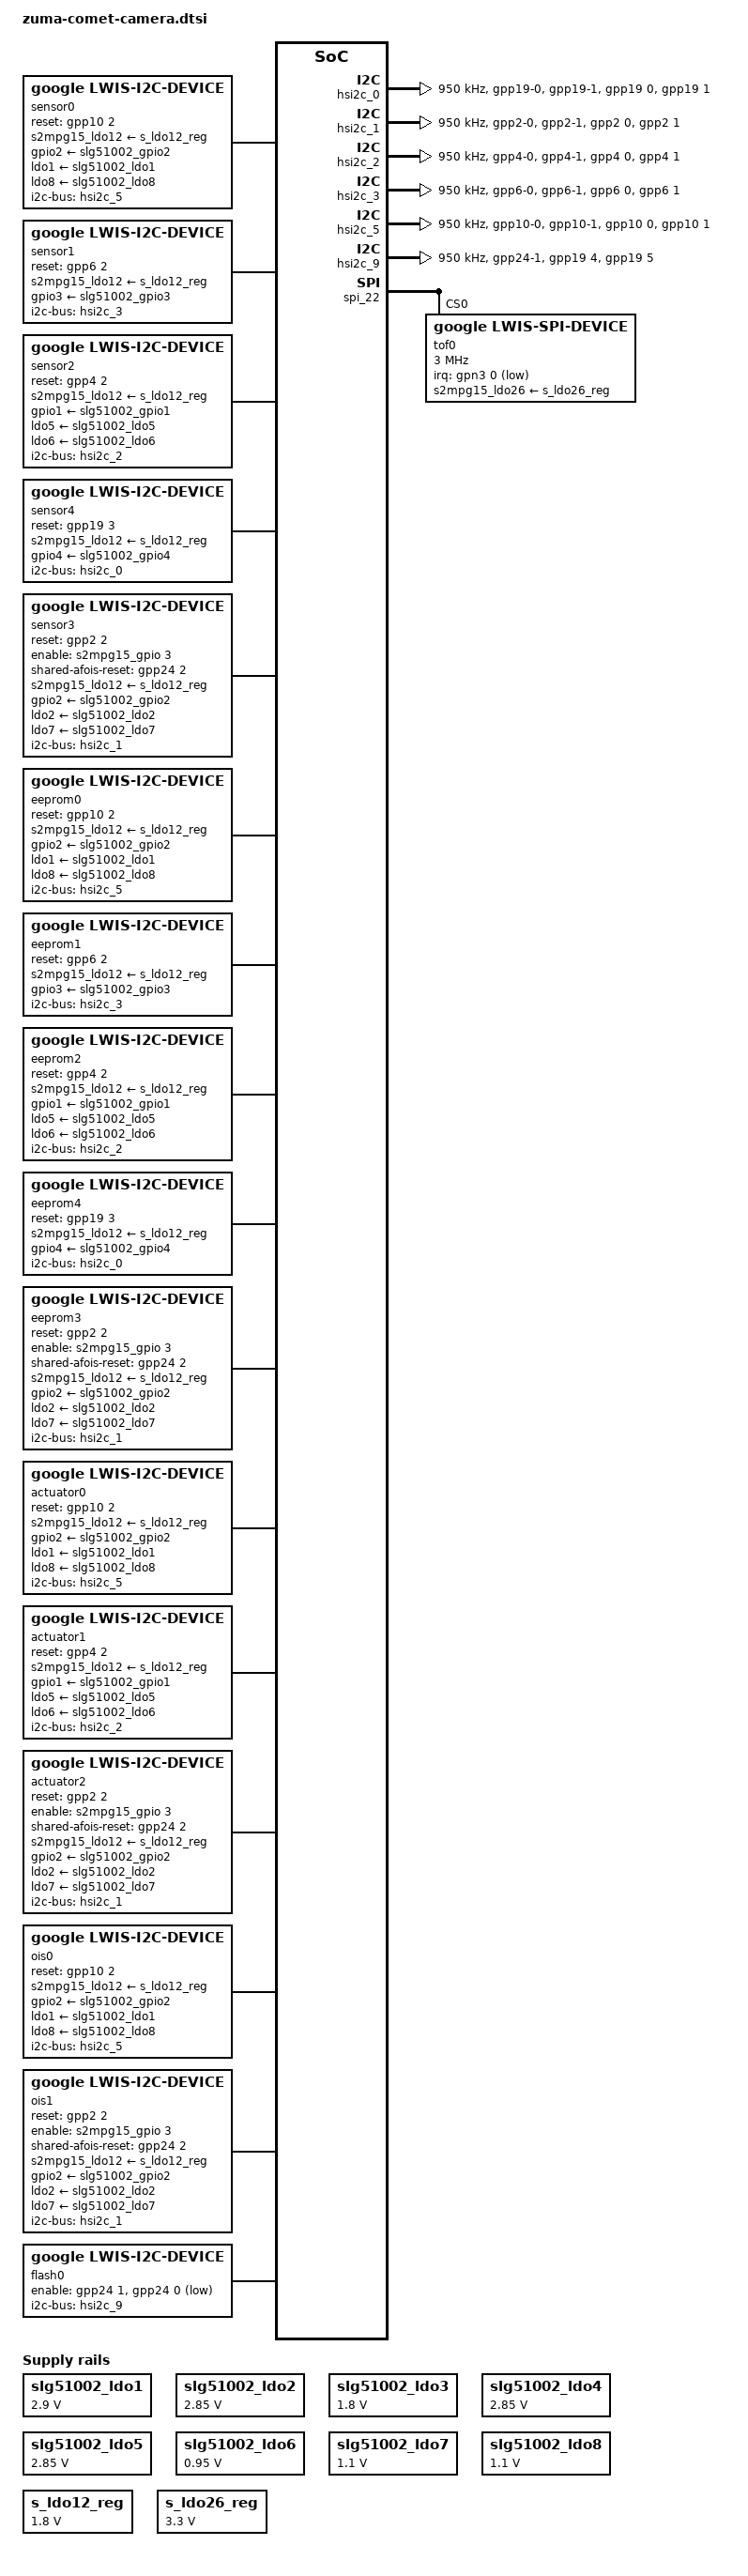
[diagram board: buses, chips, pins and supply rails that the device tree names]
// SPDX-License-Identifier: GPL-2.0-only
/*
 * zuma camera lwis device tree for comet
 *
 * Copyright 2023 Google LLC.
 *
 */

#include <dt-bindings/clock/zuma.h>
#include <dt-bindings/gpio/gpio.h>
#include <dt-bindings/lwis/platform/zuma/tof.h>
#include <arm64/exynos/exynos-pinctrl.h>

&slg51002_ldo1 {
	regulator-min-microvolt = <2900000>;
	regulator-max-microvolt = <2900000>;
};

&slg51002_ldo2 {
	regulator-min-microvolt = <2850000>;
	regulator-max-microvolt = <2850000>;
};

&slg51002_ldo3 {
	regulator-min-microvolt = <1800000>;
	regulator-max-microvolt = <1800000>;
};

&slg51002_ldo4 {
	regulator-min-microvolt = <2850000>;
	regulator-max-microvolt = <2850000>;
};

&slg51002_ldo5 {
	regulator-min-microvolt = <2850000>;
	regulator-max-microvolt = <2850000>;
};

&slg51002_ldo6 {
	regulator-min-microvolt = <950000>;
	regulator-max-microvolt = <950000>;
};

&slg51002_ldo7 {
	regulator-min-microvolt = <1100000>;
	regulator-max-microvolt = <1100000>;
};

&slg51002_ldo8 {
	regulator-min-microvolt = <1100000>;
	regulator-max-microvolt = <1100000>;
};

&s_ldo12_reg {
	regulator-min-microvolt = <1800000>;
	regulator-max-microvolt = <1800000>;
};

&s_ldo26_reg {
	regulator-min-microvolt = <3300000>;
	regulator-max-microvolt = <3300000>;
};

&pinctrl_11 {
	hsi2c1_bus: hsi2c1-bus {
		samsung,pin-pud = <EXYNOS_PIN_PULL_UP>;
	};

	hsi2c1_bus_in: hsi2c1-bus-in {
		samsung,pins = "gpp2-0", "gpp2-1";
		samsung,pin-function = <EXYNOS_PIN_FUNC_INPUT>;
		samsung,pin-pud = <EXYNOS_PIN_PULL_NONE>;
		samsung,pin-drv = <ZUMA_PIN_DRV_X1>;
	};

	hsi2c2_bus: hsi2c2-bus {
		samsung,pin-pud = <EXYNOS_PIN_PULL_UP>;
	};

	hsi2c2_bus_in: hsi2c2-bus-in {
		samsung,pins = "gpp4-0", "gpp4-1";
		samsung,pin-function = <EXYNOS_PIN_FUNC_INPUT>;
		samsung,pin-pud = <EXYNOS_PIN_PULL_NONE>;
		samsung,pin-drv = <ZUMA_PIN_DRV_X1>;
	};

	hsi2c3_bus: hsi2c3-bus {
		samsung,pin-pud = <EXYNOS_PIN_PULL_UP>;
	};

	hsi2c3_bus_in: hsi2c3-bus-in {
		samsung,pins = "gpp6-0", "gpp6-1";
		samsung,pin-function = <EXYNOS_PIN_FUNC_INPUT>;
		samsung,pin-pud = <EXYNOS_PIN_PULL_NONE>;
		samsung,pin-drv = <ZUMA_PIN_DRV_X1>;
	};

	hsi2c5_bus: hsi2c5-bus {
		samsung,pin-pud = <EXYNOS_PIN_PULL_UP>;
	};

	hsi2c5_bus_in: hsi2c5-bus-in {
		samsung,pins = "gpp10-0", "gpp10-1";
		samsung,pin-function = <EXYNOS_PIN_FUNC_INPUT>;
		samsung,pin-pud = <EXYNOS_PIN_PULL_NONE>;
		samsung,pin-drv = <ZUMA_PIN_DRV_X1>;
	};

	sensor_mclk1_out: sensor-mclk1-out {
		samsung,pin-drv = <ZUMA_PIN_DRV_X3>;
	};
	sensor_mclk1_fn: sensor-mclk1-fn {
		samsung,pin-drv = <ZUMA_PIN_DRV_X3>;
	};
	sensor_mclk2_out: sensor-mclk2-out {
		samsung,pin-drv = <ZUMA_PIN_DRV_X3>;
	};
	sensor_mclk2_fn: sensor-mclk2-fn {
		samsung,pin-drv = <ZUMA_PIN_DRV_X3>;
	};
	sensor_mclk4_out: sensor-mclk4-out {
		samsung,pin-drv = <ZUMA_PIN_DRV_X2>;
	};
	sensor_mclk4_fn: sensor-mclk4-fn {
		samsung,pin-drv = <ZUMA_PIN_DRV_X2>;
	};
	sensor_mclk8_fn: sensor-mclk8-fn {
		samsung,pin-drv = <ZUMA_PIN_DRV_X2>;
	};
	sensor_mclk8_out: sensor-mclk8-out {
		samsung,pin-drv = <ZUMA_PIN_DRV_X2>;
	};
};

&pinctrl_12 {
	hsi2c0_bus: hsi2c0-bus {
		samsung,pin-pud = <EXYNOS_PIN_PULL_UP>;
	};

	hsi2c0_bus_in: hsi2c0-bus-in {
		samsung,pins = "gpp19-0", "gpp19-1";
		samsung,pin-function = <EXYNOS_PIN_FUNC_INPUT>;
		samsung,pin-pud = <EXYNOS_PIN_PULL_NONE>;
		samsung,pin-drv = <ZUMA_PIN_DRV_X1>;
	};

	/* GPP24[1] Flashlight Enable */
	flash_en: flash-en {
		samsung,pins = "gpp24-1";
		samsung,pin-function = <EXYNOS_PIN_FUNC_INPUT>;
		samsung,pin-pud = <EXYNOS_PIN_PULL_NONE>;
		samsung,pin-con-pdn = <EXYNOS_PIN_PDN_PREV>;
		samsung,pin-pud-pdn = <EXYNOS_PIN_PULL_NONE>;
	};
};

&hsi2c_0 {
	#address-cells = <1>;
	#size-cells = <0>;
	gpios = <&gpp19 0 GPIO_ACTIVE_HIGH &gpp19 1 GPIO_ACTIVE_HIGH>;
	status = "okay";
	clock-frequency = <950000>;
	samsung,no_lose_arbitration;
	samsung,reset-before-trans;

	pinctrl-names = "default","on_i2c","off_i2c";
	pinctrl-0 = <&hsi2c0_bus_in>;
	pinctrl-1 = <&hsi2c0_bus>;
	pinctrl-2 = <&hsi2c0_bus_in>;
};

&hsi2c_1 {
	#address-cells = <1>;
	#size-cells = <0>;
	gpios = <&gpp2 0 GPIO_ACTIVE_HIGH &gpp2 1 GPIO_ACTIVE_HIGH>;
	status = "okay";
	clock-frequency = <950000>;
	samsung,no_lose_arbitration;
	samsung,reset-before-trans;

	pinctrl-names = "default","on_i2c","off_i2c";
	pinctrl-0 = <&hsi2c1_bus_in>;
	pinctrl-1 = <&hsi2c1_bus>;
	pinctrl-2 = <&hsi2c1_bus_in>;
};

&hsi2c_2 {
	#address-cells = <1>;
	#size-cells = <0>;
	gpios = <&gpp4 0 GPIO_ACTIVE_HIGH &gpp4 1 GPIO_ACTIVE_HIGH>;
	status = "okay";
	clock-frequency = <950000>;
	samsung,no_lose_arbitration;
	samsung,reset-before-trans;

	pinctrl-names = "default","on_i2c","off_i2c";
	pinctrl-0 = <&hsi2c2_bus_in>;
	pinctrl-1 = <&hsi2c2_bus>;
	pinctrl-2 = <&hsi2c2_bus_in>;
};

&hsi2c_3 {
	#address-cells = <1>;
	#size-cells = <0>;
	gpios = <&gpp6 0 GPIO_ACTIVE_HIGH &gpp6 1 GPIO_ACTIVE_HIGH>;
	status = "okay";
	clock-frequency = <950000>;
	samsung,no_lose_arbitration;
	samsung,reset-before-trans;

	pinctrl-names = "default","on_i2c","off_i2c";
	pinctrl-0 = <&hsi2c3_bus_in>;
	pinctrl-1 = <&hsi2c3_bus>;
	pinctrl-2 = <&hsi2c3_bus_in>;
};

&hsi2c_5 {
	#address-cells = <1>;
	#size-cells = <0>;
	gpios = <&gpp10 0 GPIO_ACTIVE_HIGH &gpp10 1 GPIO_ACTIVE_HIGH>;
	status = "okay";
	clock-frequency = <950000>;
	samsung,no_lose_arbitration;
	samsung,reset-before-trans;

	pinctrl-names = "default","on_i2c","off_i2c";
	pinctrl-0 = <&hsi2c5_bus_in>;
	pinctrl-1 = <&hsi2c5_bus>;
	pinctrl-2 = <&hsi2c5_bus_in>;
};

&hsi2c_9 {
	#address-cells = <1>;
	#size-cells = <0>;
	gpios = <&gpp19 4 GPIO_ACTIVE_HIGH &gpp19 5 GPIO_ACTIVE_HIGH>;
	status = "okay";
	clock-frequency = <950000>;
	samsung,no_lose_arbitration;

	pinctrl-names = "default","on_i2c","off_i2c","recovery";
	pinctrl-0 = <&hsi2c9_bus &flash_en>;
	pinctrl-1 = <&hsi2c9_bus>;
	pinctrl-2 = <&hsi2c9_bus>;
	pinctrl-3 = <>;
};

&spi_22 {

	#address-cells = <1>;
	#size-cells = <0>;
	status = "okay";

	tof0: tof@0 {
		status = "ok";
		compatible = "google,lwis-spi-device";

		/* Device node name */
		node-name = "tof-tarasque";

		/* Registers */
		reg-addr-bitwidth = <16>;
		reg-value-bitwidth = <8>;

		/* SPI config */
		reg = <0>;
		spi-max-frequency = <3000000>;
		spi-cpol;
		spi-cpha;

		/* Power supplies */
		/* VADD 3.3V */
		s2mpg15_ldo26-supply = <&s_ldo26_reg>;

		/* MCLK Control*/
		pinctrl-names = "mclk_on", "mclk_off";
		pinctrl-0 = <>;
		pinctrl-1 = <>;

		/* XAOC_GPIO3: GPN3[0] */
		irq-gpios = <&gpn3 0 GPIO_ACTIVE_LOW>;
		irq-gpios-names = "tof-irq";
		irq-gpios-events = <LWIS_PLATFORM_EVENT_ID_TOF_DATA_POLLING>;
		/* IRQF_ONESHOT | IRQF_TRIGGER_FALLING */
		irq-gpios-types = <0x2002>;

		/* Power up sequence */
		power-up-seqs =
			"s2mpg15_ldo26";
		power-up-seq-types =
			"regulator";
		power-up-seq-delays-us =
			<1000>;

		/* Power down sequence */
		power-down-seqs =
			"s2mpg15_ldo26";
		power-down-seq-types =
			"regulator";
		power-down-seq-delays-us =
			<1000>;

		/* Thread priority */
		/* A slower TOF bus speed leads to higher CPU usage. */
		/* This is therefore made to be lower than image sensor's */
		/* thread priority to allow uninterrupted image sensor */
		/* operation during periods of high CPU contention. */
		/* Other real-time threads are also prioritized over */
		/* TOF as well. */
		transaction-thread-priority = <100>;

		controller-data {
			samsung,spi-feedback-delay = <0>;
			samsung,spi-chip-select-mode = <0>;
			cs-clock-delay = <10>;
		};
	};
};

/ {
	fragment@lwiscamera {
		target-path = "/";
		__overlay__ {
			/* Power sequence for INNER-FRONT CAMERA SVAROG combo */
			inner_front_camera_power_seq: module_power_seq@0 {
				/* Power supplies will be defined on each module. */
				/* Sensor */
				/* VDDIO         s2mpg15_ldo12 */
				/* VDIG,VDDA     gpio3 */
				/* RESET         reset */
				/* MCLK_ON       mclk_on */
				power-up-seqs =
					"s2mpg15_ldo12",
					"gpio3",
					"reset",
					"mclk_on";
				power-up-seq-types =
					"regulator",
					"regulator",
					"gpio",
					"pinctrl";
				power-up-seq-delays-us =
					<1000
					 1500
					 1000
					 1000>;

				power-down-seqs =
					"mclk_off",
					"reset",
					"gpio3",
					"s2mpg15_ldo12";
				power-down-seq-types =
					"pinctrl",
					"gpio",
					"regulator",
					"regulator";
				power-down-seq-delays-us =
					<1000
					 1000
					 1000
					 0>;
			};


			/* Power sequence for OUTER-FRONT CAMERA SVAROG combo */
			outer_front_camera_power_seq: module_power_seq@1 {
				/* Power supplies will be defined on each module. */
				/* Sensor */
				/* VDDIO         s2mpg15_ldo12 */
				/* VDIG,VDDA     gpio4 */
				/* RESET         reset */
				/* MCLK_ON       mclk_on */
				power-up-seqs =
					"s2mpg15_ldo12",
					"gpio4",
					"reset",
					"mclk_on";
				power-up-seq-types =
					"regulator",
					"regulator",
					"gpio",
					"pinctrl";
				power-up-seq-delays-us =
					<1000
					 1500
					 1000
					 1000>;

				power-down-seqs =
					"mclk_off",
					"reset",
					"gpio4",
					"s2mpg15_ldo12";
				power-down-seq-types =
					"pinctrl",
					"gpio",
					"regulator",
					"regulator";
				power-down-seq-delays-us =
					<1000
					 1000
					 1000
					 0>;
			};

			/* Power sequence for REAR MAIN CAMERA combo */
			rear_main_camera_power_seq: module_power_seq@2 {
				/* Power supplies will be defined on each module. */
				/* Sensor */
				/* VDDIO         s2mpg15_ldo12 */
				/* VDIG          ldo8 */
				/* VDDA1         ldo1 */
				/* VDDA2         ldo3 */
				/* RESET         reset */
				/* MCLK_ON       mclk_on */
				/* Actuator , OIS */
				/* AF_OIS_VANA   gpio2 */
				/* AF_OIS_VM     ldo4 */
				power-up-seqs =
					"s2mpg15_ldo12",
					"gpio2",
					"ldo4",
					"ldo1",
					"ldo3",
					"ldo8",
					"mclk_on";
				power-up-seq-types =
					"regulator",
					"regulator",
					"regulator",
					"regulator",
					"regulator",
					"regulator",
					"pinctrl";
				power-up-seq-delays-us =
					<0
					 0
					 0
					 0
					 0
					 1000
					 0>;

				/* Power down sequence */
				power-down-seqs =
					"mclk_off",
					"ldo8",
					"ldo3",
					"ldo1",
					"ldo4",
					"gpio2",
					"s2mpg15_ldo12";
				power-down-seq-types =
					"pinctrl",
					"regulator",
					"regulator",
					"regulator",
					"regulator",
					"regulator",
					"regulator";
				power-down-seq-delays-us =
					<1000
					 0
					 0
					 0
					 0
					 0
					 0>;
			};

			/* Power sequence for REAR ULTRA WIDE combo */
			rear_uw_camera_power_seq: module_power_seq@3 {
				/* Power supplies will be defined on each module. */
				/* Sensor */
				/* VDIG          ldo6 */
				/* VANA          gpio1 */
				/* VIO           s2mpg15_ldo12 */
				/* RESET         reset */
				/* MCLK_ON       mclk_on */
				/* Actuator */
				/* AF_VM         ldo5 */
				power-up-seqs =
					"ldo5",
					"s2mpg15_ldo12",
					"gpio1",
					"ldo6",
					"reset",
					"mclk_on";
				power-up-seq-types =
					"regulator",
					"regulator",
					"regulator",
					"regulator",
					"gpio",
					"pinctrl";
				power-up-seq-delays-us =
					<0
					 1000
					 0
					 1000
					 0
					 5000>;

				power-down-seqs =
					"mclk_off",
					"reset",
					"ldo6",
					"gpio1",
					"s2mpg15_ldo12",
					"ldo5";
				power-down-seq-types =
					"pinctrl",
					"gpio",
					"regulator",
					"regulator",
					"regulator",
					"regulator";
				power-down-seq-delays-us =
					<0
					 1000
					 0
					 1000
					 0
					 0>;
			};

			/* Power sequence for REAR Folded Tele Camera combo */
			rear_tele_camera_power_seq: module_power_seq@4 {
				/* Power supplies will be defined on each module. */
				/* Sensor */
				/* VDIG              ldo7 */
				/* VDDA_EN           enable */
				/* VDDIO             s2mpg15_ldo12 */
				/* RESET             reset */
				/* MCLK_ON           mclk_on */
				/* AFOIS */
				/* AF_VM             ldo2 */
				/* AFOIS_VANA        gpio2 */
				/* RTCAM_AFOIS_RESET shared-afois-reset */
				power-up-seqs =
					"s2mpg15_ldo12",
					"gpio2",
					"ldo2",
					"shared-afois-reset",
					"enable",
					"ldo7",
					"reset",
					"mclk_on";
				power-up-seq-types =
					"regulator",
					"regulator",
					"regulator",
					"gpio",
					"gpio",
					"regulator",
					"gpio",
					"pinctrl";
				power-up-seq-delays-us =
					<1000
					 1000
					 2500
					 0
					 0
					 1000
					 0
					 2000>;

				power-down-seqs =
					"mclk_off",
					"reset",
					"ldo7",
					"enable",
					"shared-afois-reset",
					"ldo2",
					"gpio2",
					"s2mpg15_ldo12";
				power-down-seq-types =
					"pinctrl",
					"gpio",
					"regulator",
					"gpio",
					"gpio",
					"regulator",
					"regulator",
					"regulator";
				power-down-seq-delays-us =
					<0
					 1000
					 0
					 0
					 2500
					 1000
					 1000
					 0>;

			};

			/* REAR CAMERA OKSOKO */
			sensor0: sensor@0 {
				compatible = "google,lwis-i2c-device";

				/* Device node name */
				node-name = "sensor-oksoko";

				/* I2C */
				i2c-bus = <&hsi2c_5>;
				i2c-addr = <0x1A>;

				/* Power up mode */
				lwis,power-up-to-suspend;

				/* Registers */
				reg-addr-bitwidth = <16>;
				reg-value-bitwidth = <8>;

				/* GPIOs */
				/* RCAM_RST_L GPP10[2] */
				reset-gpios = <&gpp10 2 GPIO_ACTIVE_HIGH>;

				/* Power supplies */
				s2mpg15_ldo12-supply = <&s_ldo12_reg>;
				gpio2-supply = <&slg51002_gpio2>;
				ldo1-supply = <&slg51002_ldo1>;
				ldo8-supply = <&slg51002_ldo8>;
				ldo4-supply = <&slg51002_ldo4>;
				ldo3-supply = <&slg51002_ldo3>;

				clocks =
					<&clock CIS_CLK3>,
					<&clock GATE_DFTMUX_CMU_CIS_CLK3>;
				clock-names =
					"CIS_CLK3",
					"GATE_DFTMUX_CMU_CIS_CLK3";
				clock-rates =
					<26000000>,
					<0>;

				/* MCLK Control */
				pinctrl-names = "mclk_on", "mclk_off";
				pinctrl-0 = <&sensor_mclk4_fn>;
				pinctrl-1 = <&sensor_mclk4_out>;

				/* Power sequence */
				power-seq = <&rear_main_camera_power_seq>;

				/* resume sequence */
				resume-seqs = "reset";
				resume-seq-types = "gpio";
				/* from XCLR to first i2c */
				resume-seq-delays-us = <2000>;

				/* suspend sequence */
				suspend-seqs = "reset";
				suspend-seq-types = "gpio";
				suspend-seq-delays-us = <0>;

				/* Thread priority */
				transaction-thread-priority = <99>;

				i2c-lock-group-id = <0>;
			};

			/* INNER-FRONT CAMERA SVAROG */
			sensor1: sensor@1 {
				compatible = "google,lwis-i2c-device";

				/* Device node name */
				node-name = "sensor-svarog";

				/* I2C */
				i2c-bus = <&hsi2c_3>;
				i2c-addr = <0x10>;

				/* Registers */
				reg-addr-bitwidth = <16>;
				reg-value-bitwidth = <16>;

				/* GPIOs */
				reset-gpios = <&gpp6 2 GPIO_ACTIVE_HIGH>;

				/* Power supplies */
				s2mpg15_ldo12-supply = <&s_ldo12_reg>;
				gpio3-supply = <&slg51002_gpio3>;

				clocks =
					<&clock CIS_CLK1>,
					<&clock GATE_DFTMUX_CMU_CIS_CLK1>;
				clock-names =
					"CIS_CLK1",
					"GATE_DFTMUX_CMU_CIS_CLK1";
				clock-rates =
					<24000000>,
					<0>;

				/* MCLK Control */
				pinctrl-names = "mclk_on", "mclk_off";
				pinctrl-0 = <&sensor_mclk2_fn>;
				pinctrl-1 = <&sensor_mclk2_out>;

				/* Power sequence */
				power-seq = <&inner_front_camera_power_seq>;

				/* Thread priority */
				transaction-thread-priority = <99>;

				i2c-lock-group-id = <1>;
			};

			/* REAR ULTRA WIDE CAMERA IMENTET */
			sensor2: sensor@2 {
				compatible = "google,lwis-i2c-device";

				/* Device node name */
				node-name = "sensor-imentet";

				/* I2C */
				i2c-bus = <&hsi2c_2>;
				i2c-addr = <0x2D>;

				/* Registers */
				reg-addr-bitwidth = <16>;
				reg-value-bitwidth = <16>;

				/* GPIOs */
				reset-gpios = <&gpp4 2 GPIO_ACTIVE_HIGH>;

				/* Power supplies */
				s2mpg15_ldo12-supply = <&s_ldo12_reg>;
				gpio1-supply = <&slg51002_gpio1>;
				ldo5-supply = <&slg51002_ldo5>;
				ldo6-supply = <&slg51002_ldo6>;

				clocks =
					<&clock CIS_CLK0>,
					<&clock GATE_DFTMUX_CMU_CIS_CLK0>;
				clock-names =
					"CIS_CLK0",
					"GATE_DFTMUX_CMU_CIS_CLK0";
				clock-rates =
					<24000000>,
					<0>;

				/* MCLK Control */
				pinctrl-names = "mclk_on", "mclk_off";
				pinctrl-0 = <&sensor_mclk1_fn>;
				pinctrl-1 = <&sensor_mclk1_out>;

				/* Power sequence */
				power-seq = <&rear_uw_camera_power_seq>;

				/* Thread priority */
				transaction-thread-priority = <99>;

				i2c-lock-group-id = <2>;
			};

			/* OUTER-FRONT CAMERA SVAROG */
			sensor4: sensor@4 {
				compatible = "google,lwis-i2c-device";

				/* Device node name */
				node-name = "sensor-svarog-outer";

				/* I2C */
				i2c-bus = <&hsi2c_0>;
				i2c-addr = <0x10>;

				/* Registers */
				reg-addr-bitwidth = <16>;
				reg-value-bitwidth = <16>;

				/* GPIOs */
				reset-gpios = <&gpp19 3 GPIO_ACTIVE_HIGH>;

				/* Power supplies */
				s2mpg15_ldo12-supply = <&s_ldo12_reg>;
				gpio4-supply = <&slg51002_gpio4>;

				clocks =
					<&clock CIS_CLK4>,
					<&clock GATE_DFTMUX_CMU_CIS_CLK4>;
				clock-names =
					"CIS_CLK4",
					"GATE_DFTMUX_CMU_CIS_CLK4";
				clock-rates =
					<24000000>,
					<0>;

				/* MCLK Control */
				pinctrl-names = "mclk_on", "mclk_off";
				pinctrl-0 = <&sensor_mclk8_fn>;
				pinctrl-1 = <&sensor_mclk8_out>;

				/* Power sequence */
				power-seq = <&outer_front_camera_power_seq>;

				/* Thread priority */
				transaction-thread-priority = <99>;

				i2c-lock-group-id = <4>;
			};

			/* REAR TELE CAMERA DOKKAEBI */
			sensor3: sensor@3 {
				compatible = "google,lwis-i2c-device";

				/* Device node name */
				node-name = "sensor-dokkaebi-tele";

				/* I2C */
				i2c-bus = <&hsi2c_1>;
				i2c-addr = <0x10>;

				/* Registers */
				reg-addr-bitwidth = <16>;
				reg-value-bitwidth = <16>;

				/* GPIOs */
				reset-gpios = <&gpp2 2 GPIO_ACTIVE_HIGH>;
				enable-gpios = <&s2mpg15_gpio 3 GPIO_ACTIVE_HIGH>;
				shared-afois-reset-gpios = <&gpp24 2 GPIO_ACTIVE_HIGH>;

				/* Power supplies */
				s2mpg15_ldo12-supply = <&s_ldo12_reg>;
				gpio2-supply = <&slg51002_gpio2>;
				ldo2-supply = <&slg51002_ldo2>;
				ldo7-supply = <&slg51002_ldo7>;

				clocks =
					<&clock CIS_CLK2>,
					<&clock GATE_DFTMUX_CMU_CIS_CLK2>;
				clock-names =
					"CIS_CLK2",
					"GATE_DFTMUX_CMU_CIS_CLK2";
				clock-rates =
					<24000000>,
					<0>;

				/* MCLK Control */
				pinctrl-names = "mclk_on", "mclk_off";
				pinctrl-0 = <&sensor_mclk3_fn>;
				pinctrl-1 = <&sensor_mclk3_out>;

				/* Power sequence */
				power-seq = <&rear_tele_camera_power_seq>;

				/* Thread priority */
				transaction-thread-priority = <99>;

				i2c-lock-group-id = <3>;
			};

			/* EEPROM NESSIE for OKSOKO*/
			eeprom0: eeprom@0 {
				compatible = "google,lwis-i2c-device";
				/* Device node name */
				node-name = "eeprom-nessie";
				/* I2C */
				i2c-bus = <&hsi2c_5>;
				i2c-addr = <0x24>;
				/* Registers */
				reg-addr-bitwidth = <16>;
				reg-value-bitwidth = <32>;

				/* GPIOs */
				/* RCAM_RST_L GPP10[2] */
				reset-gpios = <&gpp10 2 GPIO_ACTIVE_HIGH>;

				/* Power supplies */
				s2mpg15_ldo12-supply = <&s_ldo12_reg>;
				gpio2-supply = <&slg51002_gpio2>;
				ldo1-supply = <&slg51002_ldo1>;
				ldo8-supply = <&slg51002_ldo8>;
				ldo4-supply = <&slg51002_ldo4>;
				ldo3-supply = <&slg51002_ldo3>;

				/* MCLK Control */
				pinctrl-names = "mclk_on", "mclk_off";
				pinctrl-0 = <&sensor_mclk4_fn>;
				pinctrl-1 = <&sensor_mclk4_out>;

				/* Power sequence */
				power-seq = <&rear_main_camera_power_seq>;

				/* Thread priority */
				transaction-thread-priority = <99>;

				i2c-lock-group-id = <0>;
			};

			/* EEPROM SMAUG for SVAROG */
			eeprom1: eeprom@1 {
				compatible = "google,lwis-i2c-device";

				/* Device node name */
				node-name = "eeprom-smaug-svarog";

				/* I2C */
				i2c-bus = <&hsi2c_3>;
				i2c-addr = <0x50>;

				/* Registers */
				reg-addr-bitwidth = <16>;
				reg-value-bitwidth = <8>;

				/* GPIOs */
				reset-gpios = <&gpp6 2 GPIO_ACTIVE_HIGH>;

				/* Power supplies */
				s2mpg15_ldo12-supply = <&s_ldo12_reg>;
				gpio3-supply = <&slg51002_gpio3>;

				/* MCLK Control */
				pinctrl-names = "mclk_on", "mclk_off";
				pinctrl-0 = <&sensor_mclk2_fn>;
				pinctrl-1 = <&sensor_mclk2_out>;

				/* Power sequence */
				power-seq = <&inner_front_camera_power_seq>;

				/* Thread priority */
				transaction-thread-priority = <99>;

				i2c-lock-group-id = <1>;
			};

			/* EEPROM SMAUG for IMENTET UW */
			eeprom2: eeprom@2 {
				compatible = "google,lwis-i2c-device";

				/* Device node name */
				node-name = "eeprom-smaug-imentet";

				/* I2C */
				i2c-bus = <&hsi2c_2>;
				i2c-addr = <0x50>;

				/* Registers */
				reg-addr-bitwidth = <16>;
				reg-value-bitwidth = <8>;

				/* GPIOs */
				reset-gpios = <&gpp4 2 GPIO_ACTIVE_HIGH>;

				/* Power supplies */
				s2mpg15_ldo12-supply = <&s_ldo12_reg>;
				gpio1-supply = <&slg51002_gpio1>;
				ldo5-supply = <&slg51002_ldo5>;
				ldo6-supply = <&slg51002_ldo6>;

				/* MCLK Control */
				pinctrl-names = "mclk_on", "mclk_off";
				pinctrl-0 = <&sensor_mclk1_fn>;
				pinctrl-1 = <&sensor_mclk1_out>;

				/* Power sequence */
				power-seq = <&rear_uw_camera_power_seq>;

				/* Thread priority */
				transaction-thread-priority = <99>;

				i2c-lock-group-id = <2>;
			};

			/* EEPROM SMAUG for SVAROG OUTER */
			eeprom4: eeprom@4 {
				compatible = "google,lwis-i2c-device";

				/* Device node name */
				node-name = "eeprom-smaug-svarog-outer";

				/* I2C */
				i2c-bus = <&hsi2c_0>;
				i2c-addr = <0x50>;

				/* Registers */
				reg-addr-bitwidth = <16>;
				reg-value-bitwidth = <8>;

				/* GPIOs */
				reset-gpios = <&gpp19 3 GPIO_ACTIVE_HIGH>;

				/* Power supplies */
				s2mpg15_ldo12-supply = <&s_ldo12_reg>;
				gpio4-supply = <&slg51002_gpio4>;

				/* MCLK Control */
				pinctrl-names = "mclk_on", "mclk_off";
				pinctrl-0 = <&sensor_mclk8_fn>;
				pinctrl-1 = <&sensor_mclk8_out>;

				/* Power sequence */
				power-seq = <&outer_front_camera_power_seq>;

				/* Thread priority */
				transaction-thread-priority = <99>;

				i2c-lock-group-id = <4>;
			};

			/* EEPROM JOTNAR for DOKKAEBI */
			eeprom3: eeprom@3 {
				compatible = "google,lwis-i2c-device";

				/* Device node name */
				node-name = "eeprom-jotnar";

				/* I2C */
				i2c-bus = <&hsi2c_1>;
				i2c-addr = <0x34>;

				/* Registers */
				reg-addr-bitwidth = <16>;
				reg-value-bitwidth = <8>;

				/* GPIOs */
				reset-gpios = <&gpp2 2 GPIO_ACTIVE_HIGH>;
				enable-gpios = <&s2mpg15_gpio 3 GPIO_ACTIVE_HIGH>;
				shared-afois-reset-gpios = <&gpp24 2 GPIO_ACTIVE_HIGH>;

				/* Power supplies */
				s2mpg15_ldo12-supply = <&s_ldo12_reg>;
				gpio2-supply = <&slg51002_gpio2>;
				ldo2-supply = <&slg51002_ldo2>;
				ldo7-supply = <&slg51002_ldo7>;

				/* MCLK Control */
				pinctrl-names = "mclk_on", "mclk_off";
				pinctrl-0 = <&sensor_mclk3_fn>;
				pinctrl-1 = <&sensor_mclk3_out>;

				/* Power sequence */
				power-seq = <&rear_tele_camera_power_seq>;

				/* Thread priority */
				transaction-thread-priority = <99>;

				i2c-lock-group-id = <3>;
			};

			/* Actuator NESSIE for OKSOKO */
			actuator0: actuator@0 {
				compatible = "google,lwis-i2c-device";

				/* Device node name */
				node-name = "act-nessie";

				/* I2C */
				i2c-bus = <&hsi2c_5>;
				i2c-addr = <0x24>;

				/* Registers */
				reg-addr-bitwidth = <16>;
				reg-value-bitwidth = <32>;

				/* GPIOs */
				/* RCAM_RST_L GPP10[2] */
				reset-gpios = <&gpp10 2 GPIO_ACTIVE_HIGH>;

				/* Power supplies */
				s2mpg15_ldo12-supply = <&s_ldo12_reg>;
				gpio2-supply = <&slg51002_gpio2>;
				ldo1-supply = <&slg51002_ldo1>;
				ldo8-supply = <&slg51002_ldo8>;
				ldo4-supply = <&slg51002_ldo4>;
				ldo3-supply = <&slg51002_ldo3>;

				/* MCLK Control */
				pinctrl-names = "mclk_on", "mclk_off";
				pinctrl-0 = <&sensor_mclk4_fn>;
				pinctrl-1 = <&sensor_mclk4_out>;

				/* Power sequence */
				power-seq = <&rear_main_camera_power_seq>;

				/* Thread priority */
				transaction-thread-priority = <99>;

				i2c-lock-group-id = <0>;
			};

			/* Actuator CORNERFOLK for IMENTET */
			actuator1: actuator@1 {
				compatible = "google,lwis-i2c-device";

				/* Device node name */
				node-name = "act-cornerfolk";

				/* I2C */
				i2c-bus = <&hsi2c_2>;
				i2c-addr = <0x0C>;

				/* Registers */
				reg-addr-bitwidth = <8>;
				reg-value-bitwidth = <8>;

				/* GPIOs */
				reset-gpios = <&gpp4 2 GPIO_ACTIVE_HIGH>;

				/* Power supplies */
				s2mpg15_ldo12-supply = <&s_ldo12_reg>;
				gpio1-supply = <&slg51002_gpio1>;
				ldo5-supply = <&slg51002_ldo5>;
				ldo6-supply = <&slg51002_ldo6>;

				/* MCLK Control */
				pinctrl-names = "mclk_on", "mclk_off";
				pinctrl-0 = <&sensor_mclk1_fn>;
				pinctrl-1 = <&sensor_mclk1_out>;

				/* Power sequence */
				power-seq = <&rear_uw_camera_power_seq>;

				/* Thread priority */
				transaction-thread-priority = <99>;

				i2c-lock-group-id = <2>;
			};

			/* Actuator JOTNAR for DOKKAEBI */
			actuator2: actuator@2 {
				compatible = "google,lwis-i2c-device";

				/* Device node name */
				node-name = "act-jotnar";

				/* I2C */
				i2c-bus = <&hsi2c_1>;
				i2c-addr = <0x34>;

				/* Registers */
				reg-addr-bitwidth = <16>;
				reg-value-bitwidth = <8>;

				/* GPIOs */
				reset-gpios = <&gpp2 2 GPIO_ACTIVE_HIGH>;
				enable-gpios = <&s2mpg15_gpio 3 GPIO_ACTIVE_HIGH>;
				shared-afois-reset-gpios = <&gpp24 2 GPIO_ACTIVE_HIGH>;

				/* Power supplies */
				s2mpg15_ldo12-supply = <&s_ldo12_reg>;
				gpio2-supply = <&slg51002_gpio2>;
				ldo2-supply = <&slg51002_ldo2>;
				ldo7-supply = <&slg51002_ldo7>;

				/* MCLK Control */
				pinctrl-names = "mclk_on", "mclk_off";
				pinctrl-0 = <&sensor_mclk3_fn>;
				pinctrl-1 = <&sensor_mclk3_out>;

				/* Power sequence */
				power-seq = <&rear_tele_camera_power_seq>;

				/* Thread priority */
				transaction-thread-priority = <99>;

				i2c-lock-group-id = <3>;
			};

			/* OIS NESSIE for OKSOKO*/
			ois0: ois@0 {
				compatible = "google,lwis-i2c-device";

				/* Device node name */
				node-name = "ois-nessie";

				/* I2C */
				i2c-bus = <&hsi2c_5>;
				i2c-addr = <0x24>;

				/* Registers */
				reg-addr-bitwidth = <16>;
				reg-value-bitwidth = <32>;

				/* GPIOs */
				/* RCAM_RST_L GPP10[2] */
				reset-gpios = <&gpp10 2 GPIO_ACTIVE_HIGH>;

				/* Power supplies */
				s2mpg15_ldo12-supply = <&s_ldo12_reg>;
				gpio2-supply = <&slg51002_gpio2>;
				ldo1-supply = <&slg51002_ldo1>;
				ldo8-supply = <&slg51002_ldo8>;
				ldo4-supply = <&slg51002_ldo4>;
				ldo3-supply = <&slg51002_ldo3>;

				/* MCLK Control */
				pinctrl-names = "mclk_on", "mclk_off";
				pinctrl-0 = <&sensor_mclk4_fn>;
				pinctrl-1 = <&sensor_mclk4_out>;

				/* Power sequence */
				power-seq = <&rear_main_camera_power_seq>;

				/* Thread priority */
				transaction-thread-priority = <99>;

				i2c-lock-group-id = <0>;
			};

			/* Ois JOTNAR for DOKKAEBI */
			ois1: ois@1 {
				compatible = "google,lwis-i2c-device";

				/* Device node name */
				node-name = "ois-jotnar";

				/* I2C */
				i2c-bus = <&hsi2c_1>;
				i2c-addr = <0x34>;

				/* Registers */
				reg-addr-bitwidth = <16>;
				reg-value-bitwidth = <8>;

				/* GPIOs */
				reset-gpios = <&gpp2 2 GPIO_ACTIVE_HIGH>;
				enable-gpios = <&s2mpg15_gpio 3 GPIO_ACTIVE_HIGH>;
				shared-afois-reset-gpios = <&gpp24 2 GPIO_ACTIVE_HIGH>;

				/* Power supplies */
				s2mpg15_ldo12-supply = <&s_ldo12_reg>;
				gpio2-supply = <&slg51002_gpio2>;
				ldo2-supply = <&slg51002_ldo2>;
				ldo7-supply = <&slg51002_ldo7>;

				/* MCLK Control */
				pinctrl-names = "mclk_on", "mclk_off";
				pinctrl-0 = <&sensor_mclk3_fn>;
				pinctrl-1 = <&sensor_mclk3_out>;

				/* Power sequence */
				power-seq = <&rear_tele_camera_power_seq>;

				/* Thread priority */
				transaction-thread-priority = <99>;

				i2c-lock-group-id = <3>;
			};

			flash0: flash@0 {
				compatible = "google,lwis-i2c-device";

				/* Device node name */
				node-name = "flash-lm3644";

				/* I2C */
				i2c-bus = <&hsi2c_9>;
				i2c-addr = <0x63>;

				/* Registers */
				reg-addr-bitwidth = <8>;
				reg-value-bitwidth = <8>;

				/* Power Management hibernation (deep sleep) */
				/* 1 : enable, 0 : disable */
				pm-hibernation = <0>;

				/* GPIOs */
				/* HW_ENABLE GPP24[1] */
				/* FLASH_STROBE GPP24[0] */
				enable-gpios =
					<&gpp24 1 GPIO_ACTIVE_HIGH
					 &gpp24 0 GPIO_ACTIVE_LOW>;
			};
		};
	};
};
